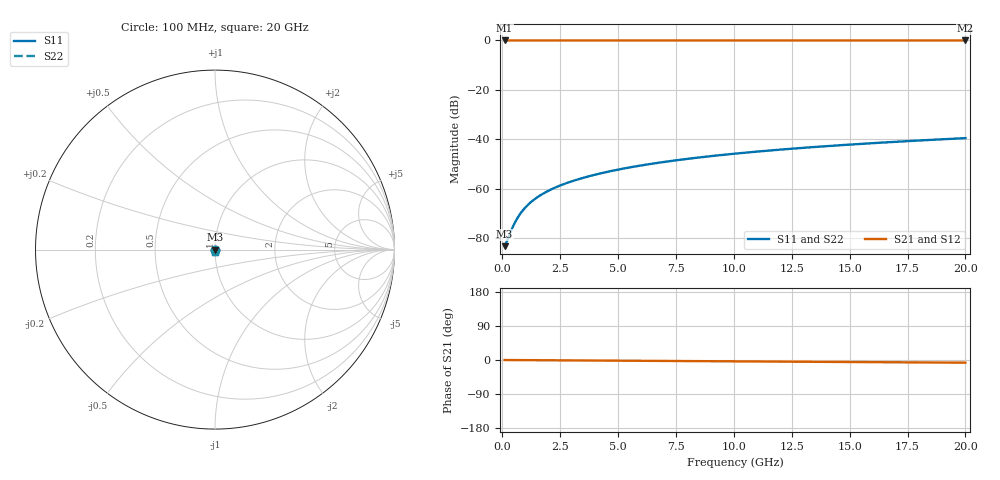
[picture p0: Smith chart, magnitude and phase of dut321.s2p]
! Touchstone file exported from HFSS 2026.1.0
!  File:  C:/ffzhzh/LocalFiles/Ansys_Project_Files/temp_train_TSV_321_1783018365_46388.aedt
!  Generated:  02:54:17 AM Jul  3, 2026
!  Design:  TSV
!  Project:  temp_train_TSV_321_1783018365_46388
! Variables:
!  h_bsmrdl = 2um
!  h_ox = 20um
!  h_rdl = 5um
!  h_sub = 68.04um
!  h_tmrdl = 5um
!  h_tsv = 68.04um
!  h_via = 3um
!  l_bsmrdl = 300um
!  l_sub = 428.9um
!  l_tmrdl = 200um
!  m_sub = 200um
!  pitch = 52.63um
!  r_tsv = 14.45um
!  s_tmrdl = 10um
!  w_bsmrdl = 18um
!  w_sub = 500um
!  w_tmrdl = 12um
!  x_tsv_center1 = 206um
!  x_tsv_center2 = 524um
!  x_tsv_center3 = 736um
!  x_tsv_center4 = 1054um
!  x_tsv_center5 = 1266um
!  x_tsv_center6 = 1584um
# GHz S MA R 50.000000
! Terminal data exported
! Port[1] = TSV1_1_T1
! Port[2] = TSV1_1_T2
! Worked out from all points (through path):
!   200 points, 100 MHz to 20 GHz, reference 50 ohm
!   highest |S21| = 0.00 dB at 100 MHz (marker M1); lowest = 0.0 dB at 20 GHz (marker M2)
!   lowest |S11| = -83.2 dB at 100 MHz (marker M3), VSWR 1.00, Z = 50 - j0.00173 ohm
!   |S11| at or under -10 dB: start of sweep to end of sweep
!   |S22| runs from -83.2 to -39.5 dB; largest |S21 - S12| = 3.5e-15
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0.1  6.954e-05 -14.4  0.9999 -0.0  0.9999 -0.0  6.954e-05 -14.4
! Gamma 0 0 0 0
! Port Impedance 50 0 50 0
0.2  8.754e-05 -25.5  0.9999 -0.1  0.9999 -0.1  8.754e-05 -25.5
0.3  0.000115 -33.5  0.9999 -0.1  0.9999 -0.1  0.000115 -33.5
0.4  0.0001497 -39.6  0.9999 -0.1  0.9999 -0.1  0.0001497 -39.6
0.5  0.0001896 -44.4  0.9999 -0.2  0.9999 -0.2  0.0001896 -44.4
0.6  0.0002331 -48.5  0.9998 -0.2  0.9998 -0.2  0.0002331 -48.5
0.8  0.0003263 -55.0  0.9998 -0.3  0.9998 -0.3  0.0003263 -55.0
0.9  0.0003747 -57.6  0.9998 -0.3  0.9998 -0.3  0.0003747 -57.6
1.1  0.0004729 -61.9  0.9998 -0.4  0.9998 -0.4  0.0004729 -61.9
1.4  0.0006217 -66.6  0.9997 -0.5  0.9997 -0.5  0.0006217 -66.6
1.8  0.0008207 -70.8  0.9997 -0.6  0.9997 -0.6  0.0008207 -70.8
2.3  0.00107 -74.2  0.9997 -0.8  0.9997 -0.8  0.00107 -74.2
2.9  0.001371 -76.8  0.9997 -1.0  0.9997 -1.0  0.001371 -76.8
3.5  0.001676 -78.6  0.9996 -1.3  0.9996 -1.3  0.001676 -78.6
4.2  0.002035 -80.1  0.9996 -1.5  0.9996 -1.5  0.002035 -80.1
5  0.002452 -81.5  0.9996 -1.8  0.9996 -1.8  0.002452 -81.5
6.8  0.003405 -83.7  0.9995 -2.4  0.9995 -2.4  0.003405 -83.7
8.3  0.00421 -85.2  0.9994 -2.9  0.9994 -2.9  0.00421 -85.2
10.1  0.005183 -86.6  0.9994 -3.6  0.9994 -3.6  0.005183 -86.6
13.4  0.006979 -88.8  0.9993 -4.8  0.9993 -4.8  0.006979 -88.8
16.7  0.008791 -90.7  0.9992 -5.9  0.9992 -5.9  0.008791 -90.7
20  0.01062 -92.3  0.9991 -7.1  0.9991 -7.1  0.01062 -92.3
